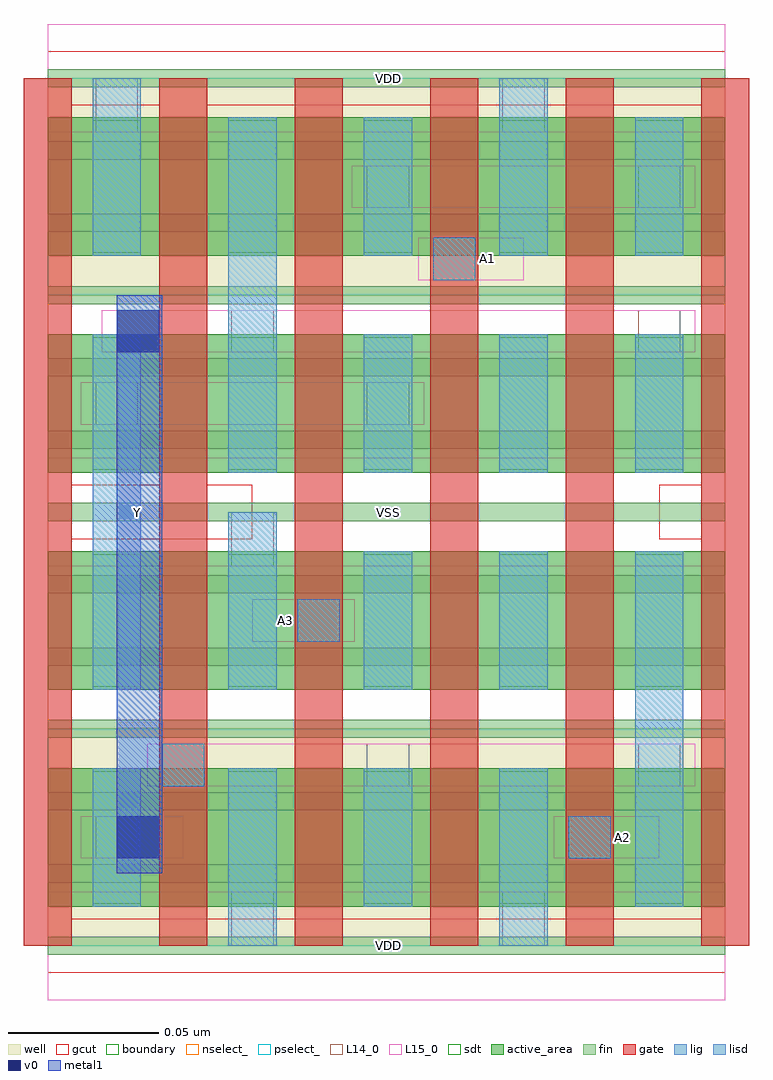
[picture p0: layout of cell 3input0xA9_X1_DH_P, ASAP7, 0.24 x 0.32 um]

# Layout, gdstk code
import gdstk
lib = gdstk.Library(unit=1e-6, precision=1e-09)
def R(c, l, rs):  # rectangles x0, y0, x1, y1
    for r in rs: c.add(gdstk.rectangle(r[:2], r[2:], *l))
def A(c, l, x, y, w, h, nx, ny, dx, dy):  # array of equal rectangles
    R(c, l, [(x+i*dx, y+j*dy, x+i*dx+w, y+j*dy+h) for i in range(nx) for j in range(ny)])
def P(c, l, *ps):  # polygons
    for p in ps: c.add(gdstk.Polygon(p, *l))
well = (1, 0)
fin = (2, 0)
gate = (7, 0)
gcut = (10, 0)
active_area = (11, 0)
nselect_ = (12, 0)
pselect_ = (13, 0)
L14_0 = (14, 0)
L15_0 = (15, 0)
lig = (16, 0)
lisd = (17, 0)
v0 = (18, 0)
metal1 = (19, 0)
sdt = (88, 0)
boundary = (100, 0)

c_3input0xa9_x1_dh_p = lib.new_cell('3input0xA9_X1_DH_P')
R(c_3input0xa9_x1_dh_p, well, [(0,0,0.225,0.072), (0,0.216,0.225,0.288)])
A(c_3input0xa9_x1_dh_p, fin, 0, -0.003, 0.225, 0.006, 1, 13, 0, 0.024)
A(c_3input0xa9_x1_dh_p, gate, -0.008, 0, 0.016, 0.288, 6, 1, 0.045, 0)
P(c_3input0xa9_x1_dh_p, gcut, [(0,-0.009),(0,0),(-0.008,0),(-0.008,0.279),(0.008,0.279),(0.008,0.153),(0.037,0.153),(0.037,0.279),(0.053,0.279),(0.053,0.153),(0.068,0.153),(0.068,0.135),(0.008,0.135),(0.008,0.009),(0.217,0.009),(0.217,0.135),(0.203,0.135),(0.203,0.153),(0.217,0.153),(0.217,0.279),(-0.008,0.279),(-0.008,0.288),(0,0.288),(0,0.297),(0.225,0.297),(0.225,0.288),(0.233,0.288),(0.233,0),(0.225,0),(0.225,-0.009)])
A(c_3input0xa9_x1_dh_p, active_area, 0, 0.013, 0.225, 0.046, 1, 4, 0, 0.072)
R(c_3input0xa9_x1_dh_p, nselect_, [(0,0.072,0.225,0.144), (0,0.144,0.225,0.216)])
R(c_3input0xa9_x1_dh_p, pselect_, [(0,0,0.225,0.072), (0,0.216,0.225,0.288)])
R(c_3input0xa9_x1_dh_p, L14_0, [(0.061,0,0.075,0.018), (0.151,0,0.165,0.018), (0.016,0.029,0.03,0.043), (0.173,0.029,0.187,0.043), (0.038,0.053,0.052,0.067), (0.106,0.053,0.12,0.067), (0.196,0.053,0.21,0.067), (0.083,0.101,0.097,0.115), (0.061,0.126,0.075,0.144), (0.016,0.173,0.03,0.187), (0.106,0.173,0.12,0.187), (0.061,0.197,0.075,0.211), (0.196,0.197,0.21,0.211), (0.128,0.221,0.142,0.235), (0.106,0.245,0.12,0.259), (0.196,0.245,0.21,0.259), (0.016,0.27,0.03,0.288), (0.151,0.27,0.165,0.288)])
A(c_3input0xa9_x1_dh_p, L15_0, 0, -0.018, 0.225, 0.036, 1, 3, 0, 0.144)
R(c_3input0xa9_x1_dh_p, L15_0, [(0.011,0.029,0.045,0.043), (0.168,0.029,0.203,0.043), (0.033,0.053,0.215,0.067), (0.068,0.101,0.102,0.115), (0.011,0.173,0.125,0.187), (0.018,0.197,0.215,0.211), (0.123,0.221,0.158,0.235), (0.101,0.245,0.215,0.259)])
R(c_3input0xa9_x1_dh_p, lig, [(0.173,0.029,0.187,0.043), (0.038,0.053,0.052,0.067), (0.083,0.101,0.097,0.115), (0.128,0.221,0.142,0.235)])
A(c_3input0xa9_x1_dh_p, lisd, 0.105, 0.157, 0.016, 0.046, 3, 1, 0.045, 0)
R(c_3input0xa9_x1_dh_p, lisd, [(0.06,0,0.076,0.059), (0.15,0,0.166,0.059), (0.015,0.013,0.031,0.059), (0.105,0.013,0.121,0.059), (0.195,0.013,0.211,0.131), (0.015,0.085,0.031,0.203), (0.06,0.085,0.076,0.144), (0.105,0.085,0.121,0.131), (0.15,0.085,0.166,0.131), (0.06,0.157,0.076,0.275), (0.015,0.229,0.031,0.288), (0.105,0.229,0.121,0.275), (0.15,0.229,0.166,0.288), (0.195,0.229,0.211,0.275)])
R(c_3input0xa9_x1_dh_p, v0, [(0.023,0.029,0.037,0.043), (0.023,0.197,0.037,0.211)])
R(c_3input0xa9_x1_dh_p, metal1, [(0.023,0.024,0.038,0.216)])
A(c_3input0xa9_x1_dh_p, sdt, 0.015, 0.014, 0.016, 0.044, 5, 4, 0.045, 0.072)
R(c_3input0xa9_x1_dh_p, boundary, [(0,0,0.225,0.288)])
c_3input0xa9_x1_dh_p.add(gdstk.Label('A2', (0.191,0.036), layer=15, texttype=251))
c_3input0xa9_x1_dh_p.add(gdstk.Label('VDD', (0.113,0), layer=15, texttype=251))
c_3input0xa9_x1_dh_p.add(gdstk.Label('VSS', (0.113,0.144), layer=15, texttype=251))
c_3input0xa9_x1_dh_p.add(gdstk.Label('VSS', (0.113,0.144), layer=15, texttype=251))
c_3input0xa9_x1_dh_p.add(gdstk.Label('VDD', (0.113,0.288), layer=15, texttype=251))
c_3input0xa9_x1_dh_p.add(gdstk.Label('A1', (0.146,0.228), layer=15, texttype=251))
c_3input0xa9_x1_dh_p.add(gdstk.Label('VDD', (0.113,0), layer=15, texttype=251))
c_3input0xa9_x1_dh_p.add(gdstk.Label('VSS', (0.113,0.144), layer=15, texttype=251))
c_3input0xa9_x1_dh_p.add(gdstk.Label('VSS', (0.113,0.144), layer=15, texttype=251))
c_3input0xa9_x1_dh_p.add(gdstk.Label('VDD', (0.113,0.288), layer=15, texttype=251))
c_3input0xa9_x1_dh_p.add(gdstk.Label('A3', (0.079,0.108), layer=15, texttype=251))
c_3input0xa9_x1_dh_p.add(gdstk.Label('VDD', (0.113,0), layer=15, texttype=251))
c_3input0xa9_x1_dh_p.add(gdstk.Label('VSS', (0.113,0.144), layer=15, texttype=251))
c_3input0xa9_x1_dh_p.add(gdstk.Label('VSS', (0.113,0.144), layer=15, texttype=251))
c_3input0xa9_x1_dh_p.add(gdstk.Label('VDD', (0.113,0.288), layer=15, texttype=251))
c_3input0xa9_x1_dh_p.add(gdstk.Label('VDD', (0.113,0), layer=15, texttype=251))
c_3input0xa9_x1_dh_p.add(gdstk.Label('VSS', (0.113,0.144), layer=15, texttype=251))
c_3input0xa9_x1_dh_p.add(gdstk.Label('VSS', (0.113,0.144), layer=15, texttype=251))
c_3input0xa9_x1_dh_p.add(gdstk.Label('VDD', (0.113,0.288), layer=15, texttype=251))
c_3input0xa9_x1_dh_p.add(gdstk.Label('VSS', (0.113,0.144), layer=3, texttype=251))
c_3input0xa9_x1_dh_p.add(gdstk.Label('VSS', (0.113,0.144), layer=3, texttype=251))
c_3input0xa9_x1_dh_p.add(gdstk.Label('VSS', (0.113,0.144), layer=3, texttype=251))
c_3input0xa9_x1_dh_p.add(gdstk.Label('VSS', (0.113,0.144), layer=3, texttype=251))
c_3input0xa9_x1_dh_p.add(gdstk.Label('VSS', (0.113,0.144), layer=3, texttype=251))
c_3input0xa9_x1_dh_p.add(gdstk.Label('VSS', (0.113,0.144), layer=3, texttype=251))
c_3input0xa9_x1_dh_p.add(gdstk.Label('VSS', (0.113,0.144), layer=3, texttype=251))
c_3input0xa9_x1_dh_p.add(gdstk.Label('VSS', (0.113,0.144), layer=3, texttype=251))
c_3input0xa9_x1_dh_p.add(gdstk.Label('VDD', (0.113,0), layer=1, texttype=251))
c_3input0xa9_x1_dh_p.add(gdstk.Label('VDD', (0.113,0.288), layer=1, texttype=251))
c_3input0xa9_x1_dh_p.add(gdstk.Label('VDD', (0.113,0), layer=1, texttype=251))
c_3input0xa9_x1_dh_p.add(gdstk.Label('VDD', (0.113,0.288), layer=1, texttype=251))
c_3input0xa9_x1_dh_p.add(gdstk.Label('VDD', (0.113,0), layer=1, texttype=251))
c_3input0xa9_x1_dh_p.add(gdstk.Label('VDD', (0.113,0.288), layer=1, texttype=251))
c_3input0xa9_x1_dh_p.add(gdstk.Label('VDD', (0.113,0), layer=1, texttype=251))
c_3input0xa9_x1_dh_p.add(gdstk.Label('VDD', (0.113,0.288), layer=1, texttype=251))
c_3input0xa9_x1_dh_p.add(gdstk.Label('Y', (0.03,0.144), layer=19, texttype=251))

lib.write_gds('3input0xA9_X1_DH_P.gds')
